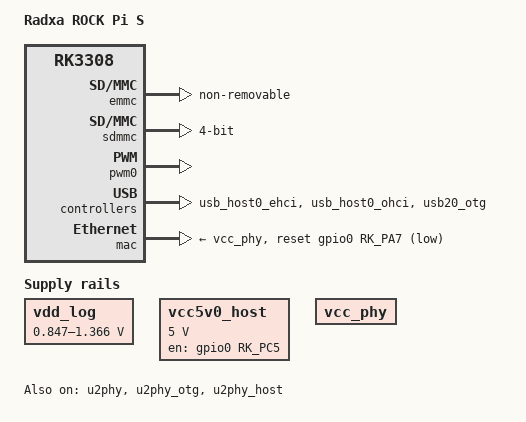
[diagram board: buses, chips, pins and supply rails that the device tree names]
/*
 * (C) Copyright 2018 Rockchip Electronics Co., Ltd
 *
 * SPDX-License-Identifier:     GPL-2.0+
 */

/dts-v1/;
#include "rk3308.dtsi"
#include "rk3308-u-boot.dtsi"
#include <dt-bindings/input/input.h>
#include <linux/media-bus-format.h>

/ {
	model = "Radxa ROCK Pi S";
	compatible = "radxa,rockpis", "rockchip,rk3308";

	vdd_log: vdd_core: vdd-core {
		compatible = "pwm-regulator";
		pwms = <&pwm0 0 5000 1>;
		regulator-name = "vdd_core";
		regulator-min-microvolt = <847000>;
		regulator-max-microvolt = <1366000>;
		regulator-init-microvolt  = <1044000>;
		regulator-always-on;
		regulator-boot-on;
		status = "okay";
	};

	vcc5v0_host: vcc5v0-host-en {
		compatible = "regulator-fixed";
		regulator-name = "vcc5v0_host";
		enable-active-high;
		gpio = <&gpio0 RK_PC5 GPIO_ACTIVE_HIGH>;
		pinctrl-names = "default";
		pinctrl-0 = <&vcc5v0_host_drv>;
		regulator-min-microvolt = <5000000>;
		regulator-max-microvolt = <5000000>;
		regulator-always-on;
		regulator-boot-on;
	};

	vcc_phy: vcc-phy-regulator {
		compatible = "regulator-fixed";
		regulator-name = "vcc_phy";
		regulator-always-on;
		regulator-boot-on;
	};
};

&emmc {
	cap-mmc-highspeed;
	supports-emmc;
	non-removable;
	num-slots = <1>;
	status = "okay";
};

&sdmmc {
	bus-width = <4>;
	status = "okay";
};

&pwm0 {
	status = "okay";
};

&u2phy {
	status = "okay";
};

&u2phy_otg {
	status = "okay";
};

&u2phy_host {
	status = "okay";
};

&usb_host0_ehci {
	status = "okay";
};

&usb_host0_ohci {
	status = "okay";
};

&usb20_otg {
	status = "okay";
};

&mac {
	phy-supply = <&vcc_phy>;
	clock_in_out = "output";
	assigned-clocks = <&cru SCLK_MAC>;
	assigned-clock-parents = <&cru SCLK_MAC_SRC>;
	snps,reset-gpio = <&gpio0 RK_PA7 GPIO_ACTIVE_LOW>;
	snps,reset-active-low;
	snps,reset-delays-us = <0 50000 50000>;
	status = "okay";
};

&pinctrl {
	usb {
		vcc5v0_host_drv: vcc5v0-host-drv {
			rockchip,pins = <0 RK_PC5 RK_FUNC_GPIO &pcfg_pull_none>;
		};
	};
};
